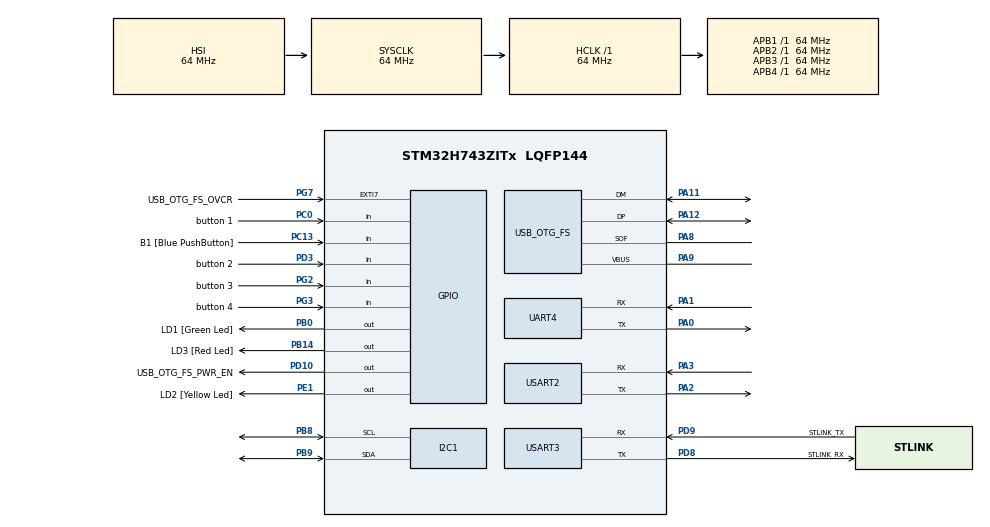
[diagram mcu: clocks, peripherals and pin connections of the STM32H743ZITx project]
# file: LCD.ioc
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Mcu.Family=STM32H7
Mcu.Name=STM32H743ZITx
Mcu.Package=LQFP144
NVIC.PriorityGroup=NVIC_PRIORITYGROUP_4
PA0.Mode=Asynchronous
PA0.Signal=UART4_TX
PA1.Mode=Asynchronous
PA1.Signal=UART4_RX
PA11.Mode=Device_Only
PA11.Signal=USB_OTG_FS_DM
PA12.Mode=Device_Only
PA12.Signal=USB_OTG_FS_DP
PA2.Mode=Asynchronous
PA2.Signal=USART2_TX
PA3.Mode=Asynchronous
PA3.Signal=USART2_RX
PA7.Signal=ETH_CRS_DV
PA8.Mode=Activate_SOF_FS
PA8.Signal=USB_OTG_FS_SOF
PA9.Mode=Activate_VBUS
PA9.Signal=USB_OTG_FS_VBUS
PB0.GPIO_Label=LD1 [Green Led]
PB0.Signal=GPIO_Output
PB13.Signal=ETH_TXD1
PB14.GPIO_Label=LD3 [Red Led]
PB14.Signal=GPIO_Output
PB8.Mode=I2C
PB8.Signal=I2C1_SCL
PB9.Mode=I2C
PB9.Signal=I2C1_SDA
PC0.GPIO_Label=button 1
PC0.Signal=GPIO_Input
PC1.Signal=ETH_MDC
PC13.GPIO_Label=B1 [Blue PushButton]
PC13.Signal=GPIO_Input
PC14-OSC32_IN\ (OSC32_IN).Mode=LSE-External-Oscillator
PC14-OSC32_IN\ (OSC32_IN).Signal=RCC_OSC32_IN
PC15-OSC32_OUT\ (OSC32_OUT).Mode=LSE-External-Oscillator
PC15-OSC32_OUT\ (OSC32_OUT).Signal=RCC_OSC32_OUT
PC4.Signal=ETH_RXD0
PC5.Signal=ETH_RXD1
PD10.GPIO_Label=USB_OTG_FS_PWR_EN
PD10.Signal=GPIO_Output
PD3.GPIO_Label=button 2
PD3.Signal=GPIO_Input
PD8.GPIO_Label=STLINK_RX
PD8.Mode=Asynchronous
PD8.Signal=USART3_TX
PD9.GPIO_Label=STLINK_TX
PD9.Mode=Asynchronous
PD9.Signal=USART3_RX
PE1.GPIO_Label=LD2 [Yellow Led]
PE1.Signal=GPIO_Output
PG11.Signal=ETH_TX_EN
PG13.Signal=ETH_TXD0
PG2.GPIO_Label=button 3
PG2.Signal=GPIO_Input
PG3.GPIO_Label=button 4
PG3.Signal=GPIO_Input
PG7.GPIO_Label=USB_OTG_FS_OVCR
PG7.Signal=GPXTI7
PH0-OSC_IN\ (PH0).Mode=HSE-External-Clock-Source
PH0-OSC_IN\ (PH0).Signal=RCC_OSC_IN
PH1-OSC_OUT\ (PH1).Signal=RCC_OSC_OUT
ProjectManager.HeapSize=0x200
ProjectManager.StackSize=0x400
ProjectManager.TargetToolchain=STM32CubeIDE
RCC.ADCFreq_Value=16125000
RCC.APB1Freq_Value=64000000
RCC.APB2Freq_Value=64000000
RCC.APB3Freq_Value=64000000
RCC.APB4Freq_Value=64000000
RCC.CortexFreq_Value=64000000
RCC.DIVM1=1
RCC.DIVN1=24
RCC.DIVQ1=4
RCC.HCLKFreq_Value=64000000
RCC.HSE_VALUE=8000000
RCC.PLLFRACN=0
RCC.PWR_Regulator_Voltage_Scale=PWR_REGULATOR_VOLTAGE_SCALE2
RCC.SYSCLKFreq_VALUE=64000000
RCC.USBFreq_Value=48000000
USART2.VirtualMode-Asynchronous=VM_ASYNC
USART3.VirtualMode-Asynchronous=VM_ASYNC
USB_OTG_FS.VirtualMode=Device_Only
board=NUCLEO-H743ZI2

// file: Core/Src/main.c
/* USER CODE BEGIN Header */
/**
  ******************************************************************************
  * @file           : main.c
  * @brief          : Main program body
  ******************************************************************************
  * @attention
  *
  * Copyright (c) 2023 STMicroelectronics.
  * All rights reserved.
  *
  * This software is licensed under terms that can be found in the LICENSE file
  * in the root directory of this software component.
  * If no LICENSE file comes with this software, it is provided AS-IS.
  *
  ******************************************************************************
  */
/* USER CODE END Header */
#include "main.h"

/* USER CODE BEGIN Includes */
#include "liquidcrystal_i2c.h"

/* USER CODE END Includes */

I2C_HandleTypeDef hi2c1;

UART_HandleTypeDef huart4;
UART_HandleTypeDef huart2;
UART_HandleTypeDef huart3;

PCD_HandleTypeDef hpcd_USB_OTG_FS;

void SystemClock_Config(void);
static void MX_GPIO_Init(void);
static void MX_USART3_UART_Init(void);
static void MX_USB_OTG_FS_PCD_Init(void);
static void MX_I2C1_Init(void);
static void MX_UART4_Init(void);
static void MX_USART2_UART_Init(void);

/* USER CODE BEGIN 0 */
typedef enum
{
	first_option,
	second_option,
	third_option,
	forth_option,
	up_option,
	down_option
} obdOptions;

//obdOptions finiteState(void)
//{
	//HAL_GPIO_WritePin(GPIOB, button_1_Pin, GPIO_PIN_SET);
	//HAL_GPIO_WritePin(GPIOB, button_2_Pin, GPIO_PIN_RESET);
	//HAL_GPIO_WritePin(GPIOB, button_3_Pin, GPIO_PIN_SET);
	//HAL_GPIO_WritePin(GPIOB, button_4_Pin, GPIO_PIN_RESET);
	//if(HAL_GPIO_ReadPin(GPIOB, GPIO_PIN_3))
	//{
		//HAL_Delay(10*1000);
		//return Transition_EW_State;
	//}
	//else
	//{
		//return NS_Stop_EW_Pass_State;
//}
//return finiteState;

/* USER CODE END 0 */

int main(void)
{

  /* MCU Configuration--------------------------------------------------------*/

  /* Reset of all peripherals, Initializes the Flash interface and the Systick. */
  HAL_Init();

  /* Configure the system clock */
  SystemClock_Config();

  /* Initialize all configured peripherals */
  MX_GPIO_Init();
  MX_USART3_UART_Init();
  MX_USB_OTG_FS_PCD_Init();
  MX_I2C1_Init();
  MX_UART4_Init();
  MX_USART2_UART_Init();
  /* USER CODE BEGIN 2 */
  HD44780_Init(2);
  //SoftwareSerial(HD44780(3,4));
  //switch(eNextState)
  	  //{
  		  //case Transition_NS_State:
  		  //eNextState = TransitionNorthSouthHandler();
  		  //break;
  		  //case NS_Pass_EW_Stop_State:
  		  //eNextState = NorthSouthPassHandler();
  		  //break;
  		  //case All_Stop_EW_State:
  		  //eNextState = AllStopEastWestHandler();
  		  //break;
  		  //case NS_Stop_EW_Pass_State:
  		  //eNextState = EastWestPassHandler();
  		  //break;
  		  //case Transition_EW_State:
  		  //eNextState = TransitionEastWestHandler();
  		  //break;
  		  //case All_Stop_NS_State:
  		  //eNextState = AllStopNorthSouthHandler();
  		  //break;
  		  //default:
  		  //eNextState = AllStopNorthSouthHandler();
  		  //break;
  	  //}
    HD44780_Clear();
    HD44780_SetCursor(0,0);
    //HD44780_PrintStr("Welcome to V2X");
    HD44780_PrintStr("We love JP");
    HD44780_SetCursor(0,1);
    HD44780_PrintStr("By: Team 2");
    HD44780_SetCursor(84,18);
    HD44780_PrintStr("Version 1.0");
    HD44780_SetCursor(20,24);
    HD44780_PrintStr("Press Button 1");
    HAL_Delay(100000);

    HD44780_Clear();
    HD44780_SetCursor(0,0);
    HD44780_PrintStr("Oil Temperature");
    HD44780_SetCursor(0,1);
    HD44780_PrintStr("Coolant Temperature");
    HD44780_SetCursor(84,18);
    HD44780_PrintStr("Tire Pressure");
    HD44780_SetCursor(20,24);
    HD44780_PrintStr("RSU Alerts");
    HAL_Delay(20000);
    HD44780_NoBacklight();
    HAL_Delay(2000);
    HD44780_Backlight();

    //HAL_Delay(2000);
    HD44780_Cursor();
    //HAL_Delay(2000);
    //HD44780_Blink();
    //HAL_Delay(5000);
    //HD44780_NoBlink();
    //HAL_Delay(2000);
    //HD44780_NoCursor();
    //HAL_Delay(2000);

    //HD44780_NoDisplay();
    //HAL_Delay(2000);
    //HD44780_Display();

    //HD44780_Clear();
    //HD44780_SetCursor(0,0);
    //HD44780_PrintStr("Charlie Nguyen");
    //int x;
    //for(int x=0; x<20; x=x+1)
    //{
      //HD44780_ScrollDisplayLeft();  //HD44780_ScrollDisplayRight();
      //HAL_Delay(500);
    //}

    //char snum[5];
    //for ( int x = 1; x <= 200 ; x++ )
    //{
      //itoa(x, snum, 10);
      //HD44780_Clear();
      //HD44780_SetCursor(0,0);
      //HD44780_PrintStr(snum);
      //HAL_Delay (1000);
    //}
  /* USER CODE END 2 */

  /* Infinite loop */
  while (1)
  {

  }
}

void SystemClock_Config(void)
{
  RCC_OscInitTypeDef RCC_OscInitStruct = {0};
  RCC_ClkInitTypeDef RCC_ClkInitStruct = {0};

  /** Supply configuration update enable
  */
  HAL_PWREx_ConfigSupply(PWR_LDO_SUPPLY);

  /** Configure the main internal regulator output voltage
  */
  __HAL_PWR_VOLTAGESCALING_CONFIG(PWR_REGULATOR_VOLTAGE_SCALE2);

  while(!__HAL_PWR_GET_FLAG(PWR_FLAG_VOSRDY)) {}

  /** Initializes the RCC Oscillators according to the specified parameters
  * in the RCC_OscInitTypeDef structure.
  */
  RCC_OscInitStruct.OscillatorType = RCC_OSCILLATORTYPE_HSI|RCC_OSCILLATORTYPE_HSE;
  RCC_OscInitStruct.HSEState = RCC_HSE_BYPASS;
  RCC_OscInitStruct.HSIState = RCC_HSI_DIV1;
  RCC_OscInitStruct.HSICalibrationValue = RCC_HSICALIBRATION_DEFAULT;
  RCC_OscInitStruct.PLL.PLLState = RCC_PLL_ON;
  RCC_OscInitStruct.PLL.PLLSource = RCC_PLLSOURCE_HSE;
  RCC_OscInitStruct.PLL.PLLM = 1;
  RCC_OscInitStruct.PLL.PLLN = 24;
  RCC_OscInitStruct.PLL.PLLP = 2;
  RCC_OscInitStruct.PLL.PLLQ = 4;
  RCC_OscInitStruct.PLL.PLLR = 2;
  RCC_OscInitStruct.PLL.PLLRGE = RCC_PLL1VCIRANGE_3;
  RCC_OscInitStruct.PLL.PLLVCOSEL = RCC_PLL1VCOWIDE;
  RCC_OscInitStruct.PLL.PLLFRACN = 0;
  if (HAL_RCC_OscConfig(&RCC_OscInitStruct) != HAL_OK)
  {
    Error_Handler();
  }

  /** Initializes the CPU, AHB and APB buses clocks
  */
  RCC_ClkInitStruct.ClockType = RCC_CLOCKTYPE_HCLK|RCC_CLOCKTYPE_SYSCLK
                              |RCC_CLOCKTYPE_PCLK1|RCC_CLOCKTYPE_PCLK2
                              |RCC_CLOCKTYPE_D3PCLK1|RCC_CLOCKTYPE_D1PCLK1;
  RCC_ClkInitStruct.SYSCLKSource = RCC_SYSCLKSOURCE_HSI;
  RCC_ClkInitStruct.SYSCLKDivider = RCC_SYSCLK_DIV1;
  RCC_ClkInitStruct.AHBCLKDivider = RCC_HCLK_DIV1;
  RCC_ClkInitStruct.APB3CLKDivider = RCC_APB3_DIV1;
  RCC_ClkInitStruct.APB1CLKDivider = RCC_APB1_DIV1;
  RCC_ClkInitStruct.APB2CLKDivider = RCC_APB2_DIV1;
  RCC_ClkInitStruct.APB4CLKDivider = RCC_APB4_DIV1;

  if (HAL_RCC_ClockConfig(&RCC_ClkInitStruct, FLASH_LATENCY_1) != HAL_OK)
  {
    Error_Handler();
  }
}

static void MX_I2C1_Init(void)
{

  hi2c1.Instance = I2C1;
  hi2c1.Init.Timing = 0x10707DBC;
  hi2c1.Init.OwnAddress1 = 0;
  hi2c1.Init.AddressingMode = I2C_ADDRESSINGMODE_7BIT;
  hi2c1.Init.DualAddressMode = I2C_DUALADDRESS_DISABLE;
  hi2c1.Init.OwnAddress2 = 0;
  hi2c1.Init.OwnAddress2Masks = I2C_OA2_NOMASK;
  hi2c1.Init.GeneralCallMode = I2C_GENERALCALL_DISABLE;
  hi2c1.Init.NoStretchMode = I2C_NOSTRETCH_DISABLE;
  if (HAL_I2C_Init(&hi2c1) != HAL_OK)
  {
    Error_Handler();
  }

  /** Configure Analogue filter
  */
  if (HAL_I2CEx_ConfigAnalogFilter(&hi2c1, I2C_ANALOGFILTER_ENABLE) != HAL_OK)
  {
    Error_Handler();
  }

  /** Configure Digital filter
  */
  if (HAL_I2CEx_ConfigDigitalFilter(&hi2c1, 0) != HAL_OK)
  {
    Error_Handler();
  }

}

static void MX_UART4_Init(void)
{

  huart4.Instance = UART4;
  huart4.Init.BaudRate = 9600;
  huart4.Init.WordLength = UART_WORDLENGTH_8B;
  huart4.Init.StopBits = UART_STOPBITS_1;
  huart4.Init.Parity = UART_PARITY_NONE;
  huart4.Init.Mode = UART_MODE_TX_RX;
  huart4.Init.HwFlowCtl = UART_HWCONTROL_NONE;
  huart4.Init.OverSampling = UART_OVERSAMPLING_16;
  huart4.Init.OneBitSampling = UART_ONE_BIT_SAMPLE_DISABLE;
  huart4.Init.ClockPrescaler = UART_PRESCALER_DIV1;
  huart4.AdvancedInit.AdvFeatureInit = UART_ADVFEATURE_NO_INIT;
  if (HAL_UART_Init(&huart4) != HAL_OK)
  {
    Error_Handler();
  }
  if (HAL_UARTEx_SetTxFifoThreshold(&huart4, UART_TXFIFO_THRESHOLD_1_8) != HAL_OK)
  {
    Error_Handler();
  }
  if (HAL_UARTEx_SetRxFifoThreshold(&huart4, UART_RXFIFO_THRESHOLD_1_8) != HAL_OK)
  {
    Error_Handler();
  }
  if (HAL_UARTEx_DisableFifoMode(&huart4) != HAL_OK)
  {
    Error_Handler();
  }

}

static void MX_USART2_UART_Init(void)
{

  huart2.Instance = USART2;
  huart2.Init.BaudRate = 9600;
  huart2.Init.WordLength = UART_WORDLENGTH_8B;
  huart2.Init.StopBits = UART_STOPBITS_1;
  huart2.Init.Parity = UART_PARITY_NONE;
  huart2.Init.Mode = UART_MODE_TX_RX;
  huart2.Init.HwFlowCtl = UART_HWCONTROL_NONE;
  huart2.Init.OverSampling = UART_OVERSAMPLING_16;
  huart2.Init.OneBitSampling = UART_ONE_BIT_SAMPLE_DISABLE;
  huart2.Init.ClockPrescaler = UART_PRESCALER_DIV1;
  huart2.AdvancedInit.AdvFeatureInit = UART_ADVFEATURE_NO_INIT;
  if (HAL_UART_Init(&huart2) != HAL_OK)
  {
    Error_Handler();
  }
  if (HAL_UARTEx_SetTxFifoThreshold(&huart2, UART_TXFIFO_THRESHOLD_1_8) != HAL_OK)
  {
    Error_Handler();
  }
  if (HAL_UARTEx_SetRxFifoThreshold(&huart2, UART_RXFIFO_THRESHOLD_1_8) != HAL_OK)
  {
    Error_Handler();
  }
  if (HAL_UARTEx_DisableFifoMode(&huart2) != HAL_OK)
  {
    Error_Handler();
  }

}

static void MX_USART3_UART_Init(void)
{

  huart3.Instance = USART3;
  huart3.Init.BaudRate = 9600;
  huart3.Init.WordLength = UART_WORDLENGTH_8B;
  huart3.Init.StopBits = UART_STOPBITS_1;
  huart3.Init.Parity = UART_PARITY_NONE;
  huart3.Init.Mode = UART_MODE_TX_RX;
  huart3.Init.HwFlowCtl = UART_HWCONTROL_NONE;
  huart3.Init.OverSampling = UART_OVERSAMPLING_16;
  huart3.Init.OneBitSampling = UART_ONE_BIT_SAMPLE_DISABLE;
  huart3.Init.ClockPrescaler = UART_PRESCALER_DIV1;
  huart3.AdvancedInit.AdvFeatureInit = UART_ADVFEATURE_NO_INIT;
  if (HAL_UART_Init(&huart3) != HAL_OK)
  {
    Error_Handler();
  }
  if (HAL_UARTEx_SetTxFifoThreshold(&huart3, UART_TXFIFO_THRESHOLD_1_8) != HAL_OK)
  {
    Error_Handler();
  }
  if (HAL_UARTEx_SetRxFifoThreshold(&huart3, UART_RXFIFO_THRESHOLD_1_8) != HAL_OK)
  {
    Error_Handler();
  }
  if (HAL_UARTEx_DisableFifoMode(&huart3) != HAL_OK)
  {
    Error_Handler();
  }

}

static void MX_USB_OTG_FS_PCD_Init(void)
{

  hpcd_USB_OTG_FS.Instance = USB_OTG_FS;
  hpcd_USB_OTG_FS.Init.dev_endpoints = 9;
  hpcd_USB_OTG_FS.Init.speed = PCD_SPEED_FULL;
  hpcd_USB_OTG_FS.Init.dma_enable = DISABLE;
  hpcd_USB_OTG_FS.Init.phy_itface = PCD_PHY_EMBEDDED;
  hpcd_USB_OTG_FS.Init.Sof_enable = ENABLE;
  hpcd_USB_OTG_FS.Init.low_power_enable = DISABLE;
  hpcd_USB_OTG_FS.Init.lpm_enable = DISABLE;
  hpcd_USB_OTG_FS.Init.battery_charging_enable = ENABLE;
  hpcd_USB_OTG_FS.Init.vbus_sensing_enable = ENABLE;
  hpcd_USB_OTG_FS.Init.use_dedicated_ep1 = DISABLE;
  if (HAL_PCD_Init(&hpcd_USB_OTG_FS) != HAL_OK)
  {
    Error_Handler();
  }

}

static void MX_GPIO_Init(void)
{
  GPIO_InitTypeDef GPIO_InitStruct = {0};

  /* GPIO Ports Clock Enable */
  __HAL_RCC_GPIOC_CLK_ENABLE();
  __HAL_RCC_GPIOH_CLK_ENABLE();
  __HAL_RCC_GPIOA_CLK_ENABLE();
  __HAL_RCC_GPIOB_CLK_ENABLE();
  __HAL_RCC_GPIOD_CLK_ENABLE();
  __HAL_RCC_GPIOG_CLK_ENABLE();
  __HAL_RCC_GPIOE_CLK_ENABLE();

  /*Configure GPIO pin Output Level */
  HAL_GPIO_WritePin(GPIOB, LD1_Pin|LD3_Pin, GPIO_PIN_RESET);

  /*Configure GPIO pin Output Level */
  HAL_GPIO_WritePin(USB_OTG_FS_PWR_EN_GPIO_Port, USB_OTG_FS_PWR_EN_Pin, GPIO_PIN_RESET);

  /*Configure GPIO pin Output Level */
  HAL_GPIO_WritePin(LD2_GPIO_Port, LD2_Pin, GPIO_PIN_RESET);

  /*Configure GPIO pins : B1_Pin button_1_Pin */
  GPIO_InitStruct.Pin = B1_Pin|button_1_Pin;
  GPIO_InitStruct.Mode = GPIO_MODE_INPUT;
  GPIO_InitStruct.Pull = GPIO_NOPULL;
  HAL_GPIO_Init(GPIOC, &GPIO_InitStruct);

  /*Configure GPIO pins : PC1 PC4 PC5 */
  GPIO_InitStruct.Pin = GPIO_PIN_1|GPIO_PIN_4|GPIO_PIN_5;
  GPIO_InitStruct.Mode = GPIO_MODE_AF_PP;
  GPIO_InitStruct.Pull = GPIO_NOPULL;
  GPIO_InitStruct.Speed = GPIO_SPEED_FREQ_LOW;
  GPIO_InitStruct.Alternate = GPIO_AF11_ETH;
  HAL_GPIO_Init(GPIOC, &GPIO_InitStruct);

  /*Configure GPIO pin : PA7 */
  GPIO_InitStruct.Pin = GPIO_PIN_7;
  GPIO_InitStruct.Mode = GPIO_MODE_AF_PP;
  GPIO_InitStruct.Pull = GPIO_NOPULL;
  GPIO_InitStruct.Speed = GPIO_SPEED_FREQ_LOW;
  GPIO_InitStruct.Alternate = GPIO_AF11_ETH;
  HAL_GPIO_Init(GPIOA, &GPIO_InitStruct);

  /*Configure GPIO pins : LD1_Pin LD3_Pin */
  GPIO_InitStruct.Pin = LD1_Pin|LD3_Pin;
  GPIO_InitStruct.Mode = GPIO_MODE_OUTPUT_PP;
  GPIO_InitStruct.Pull = GPIO_NOPULL;
  GPIO_InitStruct.Speed = GPIO_SPEED_FREQ_LOW;
  HAL_GPIO_Init(GPIOB, &GPIO_InitStruct);

  /*Configure GPIO pin : PB13 */
  GPIO_InitStruct.Pin = GPIO_PIN_13;
  GPIO_InitStruct.Mode = GPIO_MODE_AF_PP;
  GPIO_InitStruct.Pull = GPIO_NOPULL;
  GPIO_InitStruct.Speed = GPIO_SPEED_FREQ_LOW;
  GPIO_InitStruct.Alternate = GPIO_AF11_ETH;
  HAL_GPIO_Init(GPIOB, &GPIO_InitStruct);

  /*Configure GPIO pin : USB_OTG_FS_PWR_EN_Pin */
  GPIO_InitStruct.Pin = USB_OTG_FS_PWR_EN_Pin;
  GPIO_InitStruct.Mode = GPIO_MODE_OUTPUT_PP;
  GPIO_InitStruct.Pull = GPIO_NOPULL;
  GPIO_InitStruct.Speed = GPIO_SPEED_FREQ_LOW;
  HAL_GPIO_Init(USB_OTG_FS_PWR_EN_GPIO_Port, &GPIO_InitStruct);

  /*Configure GPIO pins : button_3_Pin button_4_Pin */
  GPIO_InitStruct.Pin = button_3_Pin|button_4_Pin;
  GPIO_InitStruct.Mode = GPIO_MODE_INPUT;
  GPIO_InitStruct.Pull = GPIO_NOPULL;
  HAL_GPIO_Init(GPIOG, &GPIO_InitStruct);

  /*Configure GPIO pin : USB_OTG_FS_OVCR_Pin */
  GPIO_InitStruct.Pin = USB_OTG_FS_OVCR_Pin;
  GPIO_InitStruct.Mode = GPIO_MODE_IT_RISING;
  GPIO_InitStruct.Pull = GPIO_NOPULL;
  HAL_GPIO_Init(USB_OTG_FS_OVCR_GPIO_Port, &GPIO_InitStruct);

  /*Configure GPIO pin : button_2_Pin */
  GPIO_InitStruct.Pin = button_2_Pin;
  GPIO_InitStruct.Mode = GPIO_MODE_INPUT;
  GPIO_InitStruct.Pull = GPIO_NOPULL;
  HAL_GPIO_Init(button_2_GPIO_Port, &GPIO_InitStruct);

  /*Configure GPIO pins : PG11 PG13 */
  GPIO_InitStruct.Pin = GPIO_PIN_11|GPIO_PIN_13;
  GPIO_InitStruct.Mode = GPIO_MODE_AF_PP;
  GPIO_InitStruct.Pull = GPIO_NOPULL;
  GPIO_InitStruct.Speed = GPIO_SPEED_FREQ_LOW;
  GPIO_InitStruct.Alternate = GPIO_AF11_ETH;
  HAL_GPIO_Init(GPIOG, &GPIO_InitStruct);

  /*Configure GPIO pin : LD2_Pin */
  GPIO_InitStruct.Pin = LD2_Pin;
  GPIO_InitStruct.Mode = GPIO_MODE_OUTPUT_PP;
  GPIO_InitStruct.Pull = GPIO_NOPULL;
  GPIO_InitStruct.Speed = GPIO_SPEED_FREQ_LOW;
  HAL_GPIO_Init(LD2_GPIO_Port, &GPIO_InitStruct);

}

void Error_Handler(void)
{
  __disable_irq();
  while (1)
  {
  }
}
